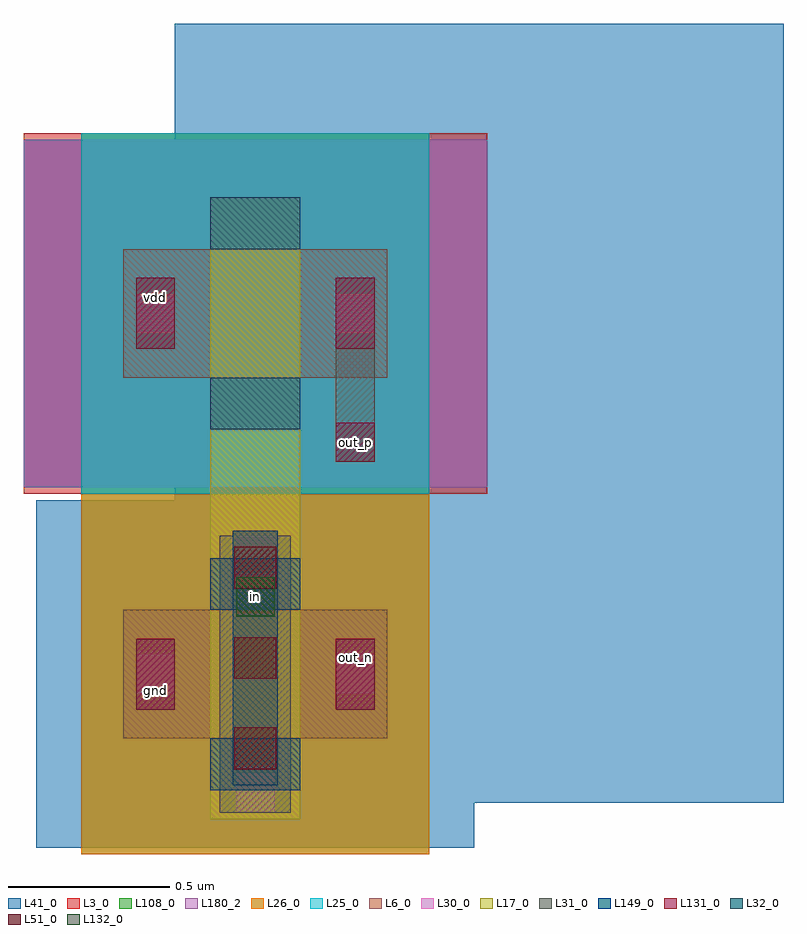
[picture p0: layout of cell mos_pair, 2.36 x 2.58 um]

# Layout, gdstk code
from math import pi, radians
import gdstk
lib = gdstk.Library(unit=1e-6, precision=1e-09)
def R(c, l, rs):  # rectangles x0, y0, x1, y1
    for r in rs: c.add(gdstk.rectangle(r[:2], r[2:], *l))
def A(c, l, x, y, w, h, nx, ny, dx, dy):  # array of equal rectangles
    R(c, l, [(x+i*dx, y+j*dy, x+i*dx+w, y+j*dy+h) for i in range(nx) for j in range(ny)])
L3_0 = (3, 0)
L6_0 = (6, 0)
L17_0 = (17, 0)
L25_0 = (25, 0)
L26_0 = (26, 0)
L30_0 = (30, 0)
L31_0 = (31, 0)
L32_0 = (32, 0)
L41_0 = (41, 0)
L51_0 = (51, 0)
L108_0 = (108, 0)
L131_0 = (131, 0)
L132_0 = (132, 0)
L149_0 = (149, 0)
L180_2 = (180, 2)

pc_ct = lib.new_cell('pc_ct')
R(pc_ct, L30_0, [(0,0,0.12,0.12), (0,0,0.12,0.12), (0,0,0.12,0.12), (0,0,0.12,0.12), (0,0,0.12,0.12), (0,0,0.12,0.12), (0,0,0.12,0.12), (0,0,0.12,0.12), (0,0,0.12,0.12), (0,0,0.12,0.12), (0,0,0.12,0.12), (0,0,0.12,0.12)])

nsvt25_cdns_588006529020 = lib.new_cell('nsvt25_CDNS_588006529020')
R(nsvt25_cdns_588006529020, L6_0, [(-0.27,0,0,0.4), (-0.27,0,0.55,0.4), (0.28,0,0.55,0.4)])
R(nsvt25_cdns_588006529020, L17_0, [(0,-0.16,0.28,0.56)])
R(nsvt25_cdns_588006529020, L26_0, [(-0.4,-0.36,0.68,0.76)])
R(nsvt25_cdns_588006529020, L31_0, [(-0.23,0.09,-0.11,0.31), (0.39,0.09,0.51,0.31)])
R(nsvt25_cdns_588006529020, L41_0, [(-0.54,-0.34,0.82,0.74)])
R(nsvt25_cdns_588006529020, L131_0, [(-0.23,0.09,-0.11,0.31), (0.39,0.09,0.51,0.31)])
R(nsvt25_cdns_588006529020, L149_0, [(0,-0.16,0.28,0), (0,0.4,0.28,0.56)])
r = gdstk.Reference(pc_ct, (0.39,0.14)); r.repetition = gdstk.Repetition(1, 1, v1=(0,0), v2=(0,0)); nsvt25_cdns_588006529020.add(r)
r = gdstk.Reference(pc_ct, (-0.23,0.14)); r.repetition = gdstk.Repetition(1, 1, v1=(0,0), v2=(0,0)); nsvt25_cdns_588006529020.add(r)
nsvt25_cdns_588006529020.add(gdstk.Label('d', (0.28,0), layer=6, texttype=0))
nsvt25_cdns_588006529020.add(gdstk.Label('s', (0,0), layer=6, texttype=0))
nsvt25_cdns_588006529020.add(gdstk.Label('d', (0.45,0.2), layer=131, texttype=0))
nsvt25_cdns_588006529020.add(gdstk.Label('s', (-0.17,0.2), layer=131, texttype=0))
nsvt25_cdns_588006529020.add(gdstk.Label('d', (0.415,0.2), layer=127, texttype=0))
nsvt25_cdns_588006529020.add(gdstk.Label('s', (-0.135,0.2), layer=127, texttype=0))
nsvt25_cdns_588006529020.add(gdstk.Label('g', (0.14,0.48), layer=149, texttype=0))
nsvt25_cdns_588006529020.add(gdstk.Label('g', (0.14,-0.08), layer=149, texttype=0))

psvt25_cdns_588006529021 = lib.new_cell('psvt25_CDNS_588006529021')
R(psvt25_cdns_588006529021, L3_0, [(-0.58,-0.34,0.86,0.74)])
R(psvt25_cdns_588006529021, L6_0, [(-0.27,0,0,0.4), (-0.27,0,0.55,0.4), (0.28,0,0.55,0.4)])
R(psvt25_cdns_588006529021, L17_0, [(0,-0.16,0.28,0.56)])
R(psvt25_cdns_588006529021, L25_0, [(-0.4,-0.36,0.68,0.76)])
R(psvt25_cdns_588006529021, L31_0, [(-0.23,0.09,-0.11,0.31), (0.39,0.09,0.51,0.31)])
R(psvt25_cdns_588006529021, L41_0, [(-0.58,-0.34,0.86,0.74)])
R(psvt25_cdns_588006529021, L131_0, [(-0.23,0.09,-0.11,0.31), (0.39,0.09,0.51,0.31)])
R(psvt25_cdns_588006529021, L149_0, [(0,-0.16,0.28,0), (0,0.4,0.28,0.56)])
R(psvt25_cdns_588006529021, L180_2, [(-0.58,-0.34,0.86,0.74)])
r = gdstk.Reference(pc_ct, (0.39,0.14)); r.repetition = gdstk.Repetition(1, 1, v1=(0,0), v2=(0,0)); psvt25_cdns_588006529021.add(r)
r = gdstk.Reference(pc_ct, (-0.23,0.14)); r.repetition = gdstk.Repetition(1, 1, v1=(0,0), v2=(0,0)); psvt25_cdns_588006529021.add(r)
psvt25_cdns_588006529021.add(gdstk.Label('d', (0.28,0), layer=6, texttype=0))
psvt25_cdns_588006529021.add(gdstk.Label('s', (0,0), layer=6, texttype=0))
psvt25_cdns_588006529021.add(gdstk.Label('d', (0.45,0.2), layer=131, texttype=0))
psvt25_cdns_588006529021.add(gdstk.Label('s', (-0.17,0.2), layer=131, texttype=0))
psvt25_cdns_588006529021.add(gdstk.Label('d', (0.415,0.2), layer=127, texttype=0))
psvt25_cdns_588006529021.add(gdstk.Label('s', (-0.135,0.2), layer=127, texttype=0))
psvt25_cdns_588006529021.add(gdstk.Label('g', (0.14,0.48), layer=149, texttype=0))
psvt25_cdns_588006529021.add(gdstk.Label('g', (0.14,-0.08), layer=149, texttype=0))
psvt25_cdns_588006529021.add(gdstk.Label('b', (0.14,0.2), layer=180, texttype=2))

m1__po_cdns_588006529020 = lib.new_cell('M1__PO_CDNS_588006529020')
R(m1__po_cdns_588006529020, L17_0, [(-0.08,-0.11,0.08,0.11)])
R(m1__po_cdns_588006529020, L30_0, [(-0.06,-0.06,0.06,0.06)])
R(m1__po_cdns_588006529020, L31_0, [(-0.06,-0.11,0.06,0.11)])

m2_m1_g_cdns_58800652902 = lib.new_cell('M2_M1_G_CDNS_588006529021')
R(m2_m1_g_cdns_58800652902, L31_0, [(-0.395,-0.07,0.395,0.07)])
R(m2_m1_g_cdns_58800652902, L32_0, [(-0.395,-0.07,0.395,0.07)])
A(m2_m1_g_cdns_58800652902, L51_0, -0.345, -0.065, 0.13, 0.13, 3, 1, 0.28, 0)

mos_pair = lib.new_cell('mos_pair')
R(mos_pair, L3_0, [(-0.18,1.12,1.26,2.24)])
R(mos_pair, L17_0, [(0.4,0.11,0.68,0.2)])
R(mos_pair, L31_0, [(0.43,0.25,0.65,0.87)])
R(mos_pair, L41_0, [(0.29,0.16,2.18,2.58)])
R(mos_pair, L108_0, [(0,0,1.08,2.24)])
R(mos_pair, L131_0, [(0.17,0.45,0.29,0.57), (0.79,0.55,0.91,0.67), (0.79,1.22,0.91,1.34), (0.17,1.67,0.29,1.79)])
R(mos_pair, L132_0, [(0.48,0.74,0.6,0.86)])
mos_pair.add(gdstk.FlexPath([(0.85,1.57),(0.85,1.22)], 0.12, ends="flush", simple_path=True, layer=31, datatype=0))  # L31_0
mos_pair.add(gdstk.FlexPath([(0.54,1.32),(0.54,0.92)], 0.28, ends="flush", simple_path=True, layer=17, datatype=0))  # L17_0
mos_pair.add(gdstk.Reference(nsvt25_cdns_588006529020, (0.4,0.36)))
mos_pair.add(gdstk.Reference(psvt25_cdns_588006529021, (0.4,1.48)))
mos_pair.add(gdstk.Reference(m1__po_cdns_588006529020, (0.54,0.19), rotation=3*pi/2))
mos_pair.add(gdstk.Reference(m1__po_cdns_588006529020, (0.54,0.93), rotation=3*pi/2))
mos_pair.add(gdstk.Reference(m2_m1_g_cdns_58800652902, (0.54,0.61), rotation=pi/2))
mos_pair.add(gdstk.Label('out_p', (0.85,1.28), layer=131, texttype=0))
mos_pair.add(gdstk.Label('out_n', (0.85,0.61), layer=131, texttype=0))
mos_pair.add(gdstk.Label('vdd', (0.23,1.73), layer=131, texttype=0))
mos_pair.add(gdstk.Label('gnd', (0.23,0.51), layer=131, texttype=0))
mos_pair.add(gdstk.Label('in', (0.54,0.8), layer=132, texttype=0))

lib.write_gds('mos_pair.gds')
